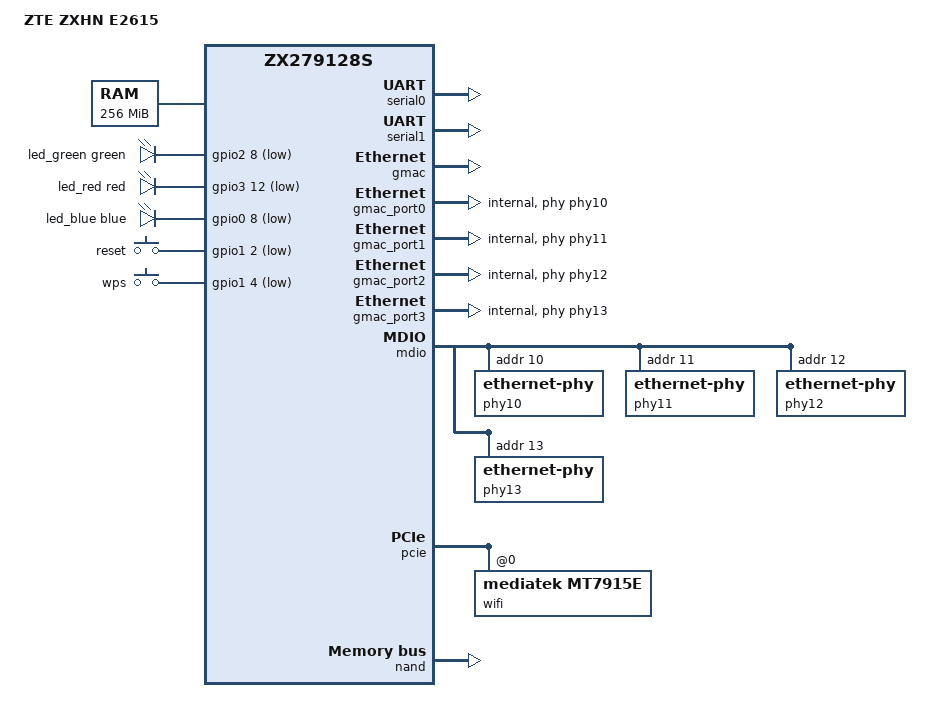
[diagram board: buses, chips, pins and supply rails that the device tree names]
// SPDX-License-Identifier: GPL-2.0-only OR BSD-2-Clause
/*
 * ZTE ZXHN E2615 (AX1800 Wi-Fi 6 Mesh Router):
 * Dual-band Wi-Fi 6 router on the Sanechips ZX279128S SoC (ARM Cortex-A9 dual-core),
 * 256 MiB DDR3 RAM, 128 MiB SPI NAND (Denali controller), one WAN port and three LAN ports,
 * MediaTek MT7915D PCIe AX1800 DBDC Wi-Fi 6 subsystem.
 *
 * Board Identification:
 *   Model: ZTE ZXHN E2615 / China Mobile CMCC
 *   Board ID: ZXHN E2603 V1.0.0
 *   Compatible: "zte,zxhn-e2615", "zte,zx279128s"
 *
 * Extracted, reverse-engineered, and validated on live physical hardware (2026-11-19).
 */

/dts-v1/;

#include "zte/zx279128s.dtsi"
#include <dt-bindings/gpio/gpio.h>
#include <dt-bindings/input/input.h>
#include <dt-bindings/leds/common.h>

/ {
	model = "ZTE ZXHN E2615";
	compatible = "zte,zxhn-e2615", "zte,zx279128s";

	aliases {
		ethernet0 = &gmac;
		serial0 = &serial0;
		serial1 = &serial1;
		led-boot = &led_red;
		led-failsafe = &led_red;
		led-running = &led_green;
	};

	chosen {
		stdout-path = "serial0:115200n8";
	};

	memory@40000000 {
		device_type = "memory";
		/* 256 MiB DDR3 RAM */
		reg = <0x40000000 0x10000000>;
	};

	leds {
		compatible = "gpio-leds";

		led_green: led-green {
			color = <LED_COLOR_ID_GREEN>;
			function = LED_FUNCTION_STATUS;
			gpios = <&gpio2 8 GPIO_ACTIVE_LOW>; /* Flat GPIO 40 */
			default-state = "off";
		};

		led_red: led-red {
			color = <LED_COLOR_ID_RED>;
			function = LED_FUNCTION_FAULT;
			gpios = <&gpio3 12 GPIO_ACTIVE_LOW>; /* Flat GPIO 60 */
			default-state = "off";
		};

		led_blue: led-blue {
			color = <LED_COLOR_ID_BLUE>;
			function = LED_FUNCTION_WLAN;
			gpios = <&gpio0 8 GPIO_ACTIVE_LOW>; /* Flat GPIO 8 */
			default-state = "off";
		};
	};

	keys {
		compatible = "gpio-keys-polled";
		poll-interval = <50>;

		key-reset {
			label = "reset";
			gpios = <&gpio1 2 GPIO_ACTIVE_LOW>; /* Flat GPIO 18 */
			linux,code = <KEY_RESTART>;
		};

		key-wps {
			label = "wps";
			gpios = <&gpio1 4 GPIO_ACTIVE_LOW>; /* Flat GPIO 20 */
			linux,code = <KEY_WPS_BUTTON>;
		};
	};
};

&serial0 {
	status = "okay";
};

&serial1 {
	status = "okay";
};

&gmac {
	status = "okay";
};

&gmac_port0 {
	label = "lan3";
	phy-handle = <&phy10>;
	phy-mode = "internal";
	nvmem-cells = <&macaddr_tag_1e 0>;
	nvmem-cell-names = "mac-address";
	status = "okay";
};

&gmac_port1 {
	label = "lan2";
	phy-handle = <&phy11>;
	phy-mode = "internal";
	nvmem-cells = <&macaddr_tag_1e 0>;
	nvmem-cell-names = "mac-address";
	status = "okay";
};

&gmac_port2 {
	label = "lan1";
	phy-handle = <&phy12>;
	phy-mode = "internal";
	nvmem-cells = <&macaddr_tag_1e 0>;
	nvmem-cell-names = "mac-address";
	status = "okay";
};

&gmac_port3 {
	label = "wan";
	phy-handle = <&phy13>;
	phy-mode = "internal";
	nvmem-cells = <&macaddr_tag_1e 1>;
	nvmem-cell-names = "mac-address";
	status = "okay";
};

&gmac_port4 {
	status = "disabled";
};

&mdio {
	status = "okay";

	phy10: ethernet-phy@a {
		reg = <10>;
	};

	phy11: ethernet-phy@b {
		reg = <11>;
	};

	phy12: ethernet-phy@c {
		reg = <12>;
	};

	phy13: ethernet-phy@d {
		reg = <13>;
	};
};

&pcie {
	status = "okay";

	bridge@0,0 {
		reg = <0x00000000 0 0 0 0>;
		#address-cells = <3>;
		#size-cells = <2>;
		ranges;

		/* Primary MT7915D function (14c3:7915) hosting DBDC radios (2.4G & 5G) */
		wifi@0,0 {
			compatible = "mediatek,mt7915e";
			reg = <0x00000000 0 0 0 0>;
		};
	};
};

&nand {
	status = "okay";

	partitions {
		compatible = "zte,zx279128s-slotpart";
		#address-cells = <1>;
		#size-cells = <1>;

		/* Slot geometry for the dynamic slot parser:
		 * bases are the two whole-system 28 MiB windows.
		 * On E2615, rootfs is at +0x400000, version header is at +0x1500000.
		 */
		zte,slot0 = <0x00700000 0x01c00000>;
		zte,slot1 = <0x02300000 0x01c00000>;
		zte,fs-delta = <0x00400000>;
		zte,hdr-delta = <0x01500000>;

		partition@0 {
			label = "bootloader";
			reg = <0x00000000 0x00100000>;
			read-only;
		};

		partition@100000 {
			label = "tag";
			reg = <0x00100000 0x00100000>;
			read-only;

			nvmem-layout {
				compatible = "fixed-layout";
				#address-cells = <1>;
				#size-cells = <1>;

				macaddr_tag_1e: macaddr@1e {
					compatible = "mac-base";
					reg = <0x1e 0x6>;
					#nvmem-cell-cells = <1>;
				};
			};
		};

		partition@200000 {
			label = "wifi";
			reg = <0x00200000 0x00100000>;
			read-only;
		};

		partition@300000 {
			label = "usercfg";
			reg = <0x00300000 0x00200000>;
		};

		partition@500000 {
			label = "defcfg";
			reg = <0x00500000 0x00200000>;
			read-only;
		};

		partition@700000 {
			label = "slot0";
			reg = <0x00700000 0x01c00000>;
		};

		partition@2300000 {
			label = "slot1";
			reg = <0x02300000 0x01c00000>;
		};

		partition@2700000 {
			label = "rootfs";
			reg = <0x02700000 0x01100000>;
		};

		partition@3800000 {
			label = "slot1-header";
			reg = <0x03800000 0x00020000>;
			read-only;
		};

		partition@3f00000 {
			label = "userdata";
			reg = <0x03f00000 0x02f00000>;
		};
	};
};

&l2cc {
	zte,l2c-io-read-lock;
};
